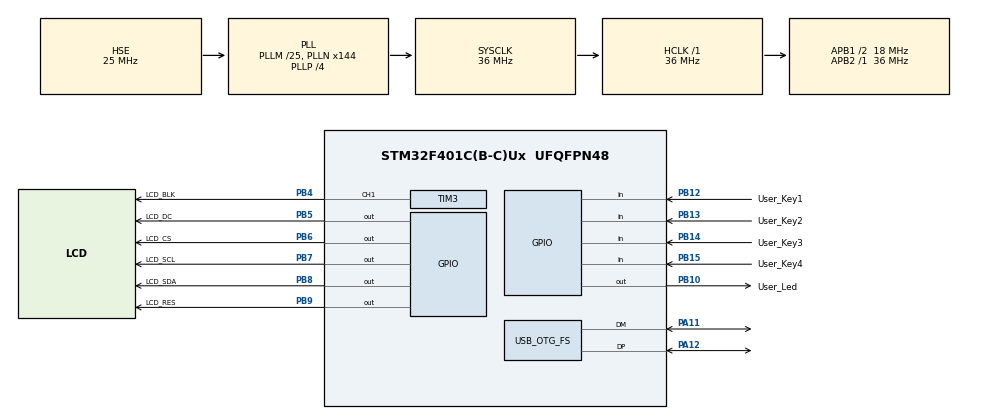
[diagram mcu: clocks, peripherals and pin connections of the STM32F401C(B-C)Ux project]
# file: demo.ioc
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Mcu.Family=STM32F4
Mcu.Name=STM32F401C(B-C)Ux
Mcu.Package=UFQFPN48
NVIC.OTG_FS_IRQn=true\:0\:0\:false\:false\:true\:false\:true
NVIC.PriorityGroup=NVIC_PRIORITYGROUP_4
NVIC.TIM1_UP_TIM10_IRQn=true\:0\:0\:false\:false\:true\:true\:true
PA11.Mode=Device_Only
PA11.Signal=USB_OTG_FS_DM
PA12.Mode=Device_Only
PA12.Signal=USB_OTG_FS_DP
PA13.Mode=Serial_Wire
PA13.Signal=SYS_JTMS-SWDIO
PA14.Mode=Serial_Wire
PA14.Signal=SYS_JTCK-SWCLK
PB10.GPIO_Label=User_Led
PB10.Signal=GPIO_Output
PB12.GPIO_Label=User_Key1
PB12.GPIO_PuPd=GPIO_PULLUP
PB12.Signal=GPIO_Input
PB13.GPIO_Label=User_Key2
PB13.GPIO_PuPd=GPIO_PULLUP
PB13.Signal=GPIO_Input
PB14.GPIO_Label=User_Key3
PB14.GPIO_PuPd=GPIO_PULLUP
PB14.Signal=GPIO_Input
PB15.GPIO_Label=User_Key4
PB15.GPIO_PuPd=GPIO_PULLUP
PB15.Signal=GPIO_Input
PB4.GPIO_Label=LCD_BLK
PB4.GPIO_PuPd=GPIO_PULLDOWN
PB4.GPIO_Speed=GPIO_SPEED_FREQ_MEDIUM
PB4.Signal=S_TIM3_CH1
PB5.GPIO_Label=LCD_DC
PB5.GPIO_PuPd=GPIO_PULLUP
PB5.GPIO_Speed=GPIO_SPEED_FREQ_VERY_HIGH
PB5.PinState=GPIO_PIN_SET
PB5.Signal=GPIO_Output
PB6.GPIO_Label=LCD_CS
PB6.GPIO_PuPd=GPIO_PULLUP
PB6.GPIO_Speed=GPIO_SPEED_FREQ_VERY_HIGH
PB6.PinState=GPIO_PIN_SET
PB6.Signal=GPIO_Output
PB7.GPIO_Label=LCD_SCL
PB7.GPIO_PuPd=GPIO_PULLUP
PB7.GPIO_Speed=GPIO_SPEED_FREQ_VERY_HIGH
PB7.PinState=GPIO_PIN_SET
PB7.Signal=GPIO_Output
PB8.GPIO_Label=LCD_SDA
PB8.GPIO_PuPd=GPIO_PULLUP
PB8.GPIO_Speed=GPIO_SPEED_FREQ_VERY_HIGH
PB8.PinState=GPIO_PIN_SET
PB8.Signal=GPIO_Output
PB9.GPIO_Label=LCD_RES
PB9.GPIO_PuPd=GPIO_PULLUP
PB9.GPIO_Speed=GPIO_SPEED_FREQ_VERY_HIGH
PB9.PinState=GPIO_PIN_SET
PB9.Signal=GPIO_Output
PC14-OSC32_IN.Mode=LSE-External-Oscillator
PC14-OSC32_IN.Signal=RCC_OSC32_IN
PC15-OSC32_OUT.Mode=LSE-External-Oscillator
PC15-OSC32_OUT.Signal=RCC_OSC32_OUT
PH0\ -\ OSC_IN.Mode=HSE-External-Oscillator
PH0\ -\ OSC_IN.Signal=RCC_OSC_IN
PH1\ -\ OSC_OUT.Mode=HSE-External-Oscillator
PH1\ -\ OSC_OUT.Signal=RCC_OSC_OUT
ProjectManager.HeapSize=0x3000
ProjectManager.StackSize=0x3000
ProjectManager.TargetToolchain=MDK-ARM V5
RCC.48MHZClocksFreq_Value=48000000
RCC.AHBFreq_Value=36000000
RCC.APB1CLKDivider=RCC_HCLK_DIV2
RCC.APB1Freq_Value=18000000
RCC.APB1TimFreq_Value=36000000
RCC.APB2Freq_Value=36000000
RCC.APB2TimFreq_Value=36000000
RCC.CortexFreq_Value=36000000
RCC.HCLKFreq_Value=36000000
RCC.HSE_VALUE=25000000
RCC.HSI_VALUE=16000000
RCC.PLLM=25
RCC.PLLN=144
RCC.PLLP=RCC_PLLP_DIV4
RCC.PLLQ=3
RCC.RCC_RTC_Clock_Source=RCC_RTCCLKSOURCE_LSE
RCC.RCC_RTC_Clock_SourceVirtual=RCC_RTCCLKSOURCE_LSE
RCC.SYSCLKFreq_VALUE=36000000
RCC.SYSCLKSource=RCC_SYSCLKSOURCE_PLLCLK
RCC.VCOOutputFreq_Value=144000000
SH.S_TIM3_CH1.0=TIM3_CH1,PWM Generation1 CH1
TIM10.AutoReloadPreload=TIM_AUTORELOAD_PRELOAD_ENABLE
TIM10.Period=1000-1
TIM10.Prescaler=84-1
TIM3.AutoReloadPreload=TIM_AUTORELOAD_PRELOAD_ENABLE
TIM3.Channel-PWM\ Generation1\ CH1=TIM_CHANNEL_1
TIM3.Period=1000-1
TIM3.Prescaler=21-1
USB_DEVICE.CLASS_NAME_FS=CDC
USB_DEVICE.VirtualMode=Cdc
USB_DEVICE.VirtualModeFS=Cdc_FS
USB_OTG_FS.VirtualMode=Device_Only
VP_RTC_VS_RTC_Activate.Mode=RTC_Enabled
VP_RTC_VS_RTC_Calendar.Mode=RTC_Calendar
VP_TIM10_VS_ClockSourceINT.Mode=Enable_Timer
VP_USB_DEVICE_VS_USB_DEVICE_CDC_FS.Mode=CDC_FS
board=custom

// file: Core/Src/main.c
/* USER CODE BEGIN Header */
/**
  ******************************************************************************
  * @file           : main.c
  * @brief          : Main program body
  ******************************************************************************
  * @attention
  *
  * <h2><center>&copy; Copyright (c) 2021 STMicroelectronics.
  * All rights reserved.</center></h2>
  *
  * This software component is licensed by ST under Ultimate Liberty license
  * SLA0044, the "License"; You may not use this file except in compliance with
  * the License. You may obtain a copy of the License at:
  *                             www.st.com/SLA0044
  *
  ******************************************************************************
  */
/* USER CODE END Header */
#include "main.h"
#include "rtc.h"
#include "tim.h"
#include "usb_device.h"
#include "gpio.h"

/* USER CODE BEGIN Includes */
#include "lcd_init.h"
#include "lcd.h"
#include "pic.h"
#include "stdio.h"
#include "lvgl.h"
#include "lv_port_disp.h"
#include "lv_ex_conf.h"
#include "lv_examples.h"
#include "lv_demo_widgets.h"
#include "my_lib.h"
#include "usbd_cdc_if.h"
/* USER CODE END Includes */

void SystemClock_Config(void);

/* USER CODE BEGIN 0 */
extern uint16_t light_lcd;
extern RTC_DateTypeDef GetData;
extern RTC_TimeTypeDef GetTime;
extern uint8_t text[50];
extern lv_indev_t *indev_button;
/* USER CODE END 0 */

int main(void)
{

    /* MCU Configuration--------------------------------------------------------*/

    /* Reset of all peripherals, Initializes the Flash interface and the Systick. */
    HAL_Init();

    /* Configure the system clock */
    SystemClock_Config();

    /* USER CODE BEGIN SysInit */
    my_init();
    /* USER CODE END SysInit */

    /* Initialize all configured peripherals */
    MX_GPIO_Init();
    MX_RTC_Init();
    MX_TIM3_Init();
    MX_TIM10_Init();
    MX_USB_DEVICE_Init();
    /* USER CODE BEGIN 2 */
    HAL_TIM_Base_Start_IT(&htim10);
    HAL_TIM_PWM_Start(&htim3, TIM_CHANNEL_1);
    LCD_Init();
    LCD_Fill(0, 0, LCD_W, LCD_H, WHITE);
    // LCD_ShowPicture(97, 100, 40, 40, gImage_1);
    __HAL_TIM_SetCompare(&htim3, TIM_CHANNEL_1, light_lcd);
    lv_init();
    lv_port_disp_init();
    lv_port_indev_init();
    lv_ex_calendar_1();
    // lv_ex_linemeter_1();
    // lv_demo_widgets();
    /* USER CODE END 2 */

    /* Infinite loop */
    while (1)
    {

        /* USER CODE BEGIN 3 */
        // my_lv_ex_label_1();
        HAL_Delay(1);
        // sprintf((char *)text, "%02d:%02d:%02d", GetTime.Hours, GetTime.Minutes, GetTime.Seconds);
        // LCD_ShowString(55, 40, text, RED, WHITE, 32, 0);
        // sprintf((char *)text, "Light:%d  ", light_lcd);
        // LCD_ShowString(65, 150, text, RED, WHITE, 24, 0);
        // // usb_printf("%02d:%02d:%02d\r\n", GetTime.Hours, GetTime.Minutes, GetTime.Seconds);
        // HAL_Delay(100);
    }
    /* USER CODE END 3 */
}

void SystemClock_Config(void)
{
    RCC_OscInitTypeDef RCC_OscInitStruct = {0};
    RCC_ClkInitTypeDef RCC_ClkInitStruct = {0};

    /** Configure the main internal regulator output voltage
  */
    __HAL_RCC_PWR_CLK_ENABLE();
    __HAL_PWR_VOLTAGESCALING_CONFIG(PWR_REGULATOR_VOLTAGE_SCALE2);
    /** Initializes the RCC Oscillators according to the specified parameters
  * in the RCC_OscInitTypeDef structure.
  */
    RCC_OscInitStruct.OscillatorType = RCC_OSCILLATORTYPE_HSE | RCC_OSCILLATORTYPE_LSE;
    RCC_OscInitStruct.HSEState = RCC_HSE_ON;
    RCC_OscInitStruct.LSEState = RCC_LSE_ON;
    RCC_OscInitStruct.PLL.PLLState = RCC_PLL_ON;
    RCC_OscInitStruct.PLL.PLLSource = RCC_PLLSOURCE_HSE;
    RCC_OscInitStruct.PLL.PLLM = 25;
    RCC_OscInitStruct.PLL.PLLN = 144;
    RCC_OscInitStruct.PLL.PLLP = RCC_PLLP_DIV4;
    RCC_OscInitStruct.PLL.PLLQ = 3;
    if (HAL_RCC_OscConfig(&RCC_OscInitStruct) != HAL_OK)
    {
        Error_Handler();
    }
    /** Initializes the CPU, AHB and APB buses clocks
  */
    RCC_ClkInitStruct.ClockType = RCC_CLOCKTYPE_HCLK | RCC_CLOCKTYPE_SYSCLK | RCC_CLOCKTYPE_PCLK1 | RCC_CLOCKTYPE_PCLK2;
    RCC_ClkInitStruct.SYSCLKSource = RCC_SYSCLKSOURCE_PLLCLK;
    RCC_ClkInitStruct.AHBCLKDivider = RCC_SYSCLK_DIV1;
    RCC_ClkInitStruct.APB1CLKDivider = RCC_HCLK_DIV2;
    RCC_ClkInitStruct.APB2CLKDivider = RCC_HCLK_DIV1;

    if (HAL_RCC_ClockConfig(&RCC_ClkInitStruct, FLASH_LATENCY_1) != HAL_OK)
    {
        Error_Handler();
    }
}

void Error_Handler(void)
{
    __disable_irq();
    while (1)
    {
    }
}

/************************ (C) COPYRIGHT STMicroelectronics *****END OF FILE****/
